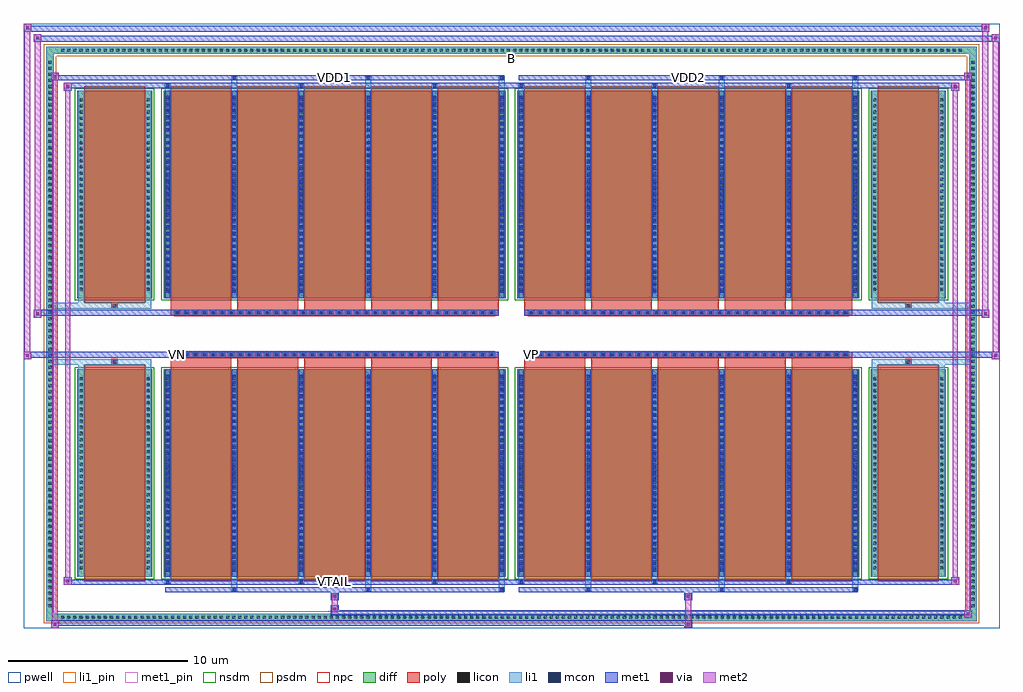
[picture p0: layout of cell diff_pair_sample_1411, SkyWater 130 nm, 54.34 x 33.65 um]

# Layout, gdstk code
import gdstk
lib = gdstk.Library(unit=1e-6, precision=5e-09)
def R(c, l, rs):  # rectangles x0, y0, x1, y1
    for r in rs: c.add(gdstk.rectangle(r[:2], r[2:], *l))
def A(c, l, x, y, w, h, nx, ny, dx, dy):  # array of equal rectangles
    R(c, l, [(x+i*dx, y+j*dy, x+i*dx+w, y+j*dy+h) for i in range(nx) for j in range(ny)])
def P(c, l, *ps):  # polygons
    for p in ps: c.add(gdstk.Polygon(p, *l))
pwell = (64, 44)
diff = (65, 20)
poly = (66, 20)
licon = (66, 44)
li1_pin = (67, 16)
li1 = (67, 20)
mcon = (67, 44)
met1_pin = (68, 16)
met1 = (68, 20)
via = (68, 44)
met2 = (69, 20)
nsdm = (93, 44)
psdm = (94, 20)
npc = (95, 20)

diff_pair_sample_1411 = lib.new_cell('diff_pair_sample_1411')
R(diff_pair_sample_1411, pwell, [(-27.17,-16.39,27.17,17.26), (-24.49,-14.58,-0.01,-0.8), (0.01,-14.58,24.49,-0.8), (-24.49,0.8,-0.01,14.58), (0.01,0.8,24.49,14.58)])
A(diff_pair_sample_1411, diff, -25.195, -15.99, 0.41, 0.41, 148, 2, 0.34, 31.57)
A(diff_pair_sample_1411, diff, -25.9, -15.335, 0.41, 0.41, 1, 90, 0, 0.34)
A(diff_pair_sample_1411, diff, 25.49, -15.335, 0.41, 0.41, 1, 90, 0, 0.34)
R(diff_pair_sample_1411, diff, [(-25.195,-15.99,25.195,-15.58), (-25.9,-15.335,-25.49,15.335), (25.49,-15.335,25.9,15.335), (-24.18,-13.535,-20.01,-1.985), (-19.37,-13.535,-0.32,-1.985), (0.32,-13.535,19.37,-1.985), (20.01,-13.535,24.18,-1.985), (-24.18,1.985,-20.01,13.535), (-19.37,1.985,-0.32,13.535), (0.32,1.985,19.37,13.535), (20.01,1.985,24.18,13.535), (-25.195,15.58,25.195,15.99)])
P(diff_pair_sample_1411, diff, [(25.9,15.99),(-25.9,15.99),(-25.9,-15.58),(-25.49,-15.58),(-25.49,15.58),(25.49,15.58),(25.49,-15.58),(-25.49,-15.58),(-25.9,-15.58),(-25.9,-15.99),(25.9,-15.99)])
A(diff_pair_sample_1411, poly, -18.98, -13.785, 3.39, 12.05, 5, 2, 3.72, 15.52)
A(diff_pair_sample_1411, poly, 0.71, -13.785, 3.39, 12.05, 5, 2, 3.72, 15.52)
A(diff_pair_sample_1411, poly, -18.98, -1.735, 3.39, 0.405, 5, 2, 3.72, 3.065)
A(diff_pair_sample_1411, poly, 0.71, -1.735, 3.39, 0.405, 5, 2, 3.72, 3.065)
A(diff_pair_sample_1411, poly, -18.76, -1.33, 0.33, 0.33, 36, 2, 0.5, 2.33)
A(diff_pair_sample_1411, poly, 0.93, -1.33, 0.33, 0.33, 36, 2, 0.5, 2.33)
R(diff_pair_sample_1411, poly, [(-23.79,-13.785,-20.4,-1.735), (20.4,-13.785,23.79,-1.735), (-22.26,-1.735,-21.93,-1.405), (-22.26,-1.735,-21.93,-1.405), (21.93,-1.735,22.26,-1.405), (21.93,-1.735,22.26,-1.405), (-18.98,-1.33,-0.71,-1), (0.71,-1.33,18.98,-1), (-18.98,1,-0.71,1.33), (0.71,1,18.98,1.33), (-22.26,1.405,-21.93,1.735), (-22.26,1.405,-21.93,1.735), (21.93,1.405,22.26,1.735), (21.93,1.405,22.26,1.735), (-23.79,1.735,-20.4,13.785), (20.4,1.735,23.79,13.785)])
A(diff_pair_sample_1411, licon, -25.075, -15.87, 0.17, 0.17, 148, 2, 0.34, 31.57)
A(diff_pair_sample_1411, licon, -25.78, -15.215, 0.17, 0.17, 1, 90, 0, 0.34)
A(diff_pair_sample_1411, licon, 25.61, -15.215, 0.17, 0.17, 1, 90, 0, 0.34)
A(diff_pair_sample_1411, licon, -24.04, -13.115, 0.17, 0.17, 1, 32, 0, 0.34)
A(diff_pair_sample_1411, licon, -20.32, -13.115, 0.17, 0.17, 1, 32, 0, 0.34)
A(diff_pair_sample_1411, licon, -19.23, -13.115, 0.17, 0.17, 6, 32, 3.72, 0.34)
A(diff_pair_sample_1411, licon, 0.46, -13.115, 0.17, 0.17, 6, 32, 3.72, 0.34)
A(diff_pair_sample_1411, licon, 20.15, -13.115, 0.17, 0.17, 1, 32, 0, 0.34)
A(diff_pair_sample_1411, licon, 23.87, -13.115, 0.17, 0.17, 1, 32, 0, 0.34)
A(diff_pair_sample_1411, licon, -18.68, -1.25, 0.17, 0.17, 36, 2, 0.5, 2.33)
A(diff_pair_sample_1411, licon, 1.01, -1.25, 0.17, 0.17, 36, 2, 0.5, 2.33)
A(diff_pair_sample_1411, licon, -24.04, 2.405, 0.17, 0.17, 1, 32, 0, 0.34)
A(diff_pair_sample_1411, licon, -20.32, 2.405, 0.17, 0.17, 1, 32, 0, 0.34)
A(diff_pair_sample_1411, licon, -19.23, 2.405, 0.17, 0.17, 6, 32, 3.72, 0.34)
A(diff_pair_sample_1411, licon, 0.46, 2.405, 0.17, 0.17, 6, 32, 3.72, 0.34)
A(diff_pair_sample_1411, licon, 20.15, 2.405, 0.17, 0.17, 1, 32, 0, 0.34)
A(diff_pair_sample_1411, licon, 23.87, 2.405, 0.17, 0.17, 1, 32, 0, 0.34)
R(diff_pair_sample_1411, licon, [(-22.18,-1.655,-22.01,-1.485), (22.01,-1.655,22.18,-1.485), (-22.18,1.485,-22.01,1.655), (22.01,1.485,22.18,1.655)])
R(diff_pair_sample_1411, li1_pin, [(-0.25,15.08,0.25,15.58)])
A(diff_pair_sample_1411, li1, -25.155, -15.95, 0.33, 0.33, 148, 2, 0.34, 31.57)
A(diff_pair_sample_1411, li1, -25.86, -15.295, 0.33, 0.33, 1, 90, 0, 0.34)
A(diff_pair_sample_1411, li1, 25.53, -15.295, 0.33, 0.33, 1, 90, 0, 0.34)
A(diff_pair_sample_1411, li1, -15.59, -14.34, 0.33, 0.805, 3, 2, 7.44, 27.875)
A(diff_pair_sample_1411, li1, -15.51, -14.34, 0.17, 0.17, 3, 2, 7.44, 28.51)
A(diff_pair_sample_1411, li1, 4.1, -14.34, 0.33, 0.805, 3, 2, 7.44, 27.875)
A(diff_pair_sample_1411, li1, 4.18, -14.34, 0.17, 0.17, 3, 2, 7.44, 28.51)
A(diff_pair_sample_1411, li1, -19.31, -13.91, 0.33, 0.375, 3, 2, 7.44, 27.445)
A(diff_pair_sample_1411, li1, -19.23, -13.91, 0.17, 0.17, 3, 2, 7.44, 27.65)
A(diff_pair_sample_1411, li1, 0.38, -13.91, 0.33, 0.375, 3, 2, 7.44, 27.445)
A(diff_pair_sample_1411, li1, 0.46, -13.91, 0.17, 0.17, 3, 2, 7.44, 27.65)
A(diff_pair_sample_1411, li1, -19.31, -13.535, 0.33, 11.55, 6, 2, 3.72, 15.52)
A(diff_pair_sample_1411, li1, 0.38, -13.535, 0.33, 11.55, 6, 2, 3.72, 15.52)
A(diff_pair_sample_1411, li1, -19.23, -13.245, 0.17, 0.17, 6, 31, 3.72, 0.36)
A(diff_pair_sample_1411, li1, -19.23, -13.245, 0.17, 10.97, 6, 2, 3.72, 15.52)
A(diff_pair_sample_1411, li1, 0.46, -13.245, 0.17, 0.17, 6, 31, 3.72, 0.36)
A(diff_pair_sample_1411, li1, 0.46, -13.245, 0.17, 10.97, 6, 2, 3.72, 15.52)
A(diff_pair_sample_1411, li1, -24.12, -13.195, 0.33, 0.33, 1, 32, 0, 0.34)
A(diff_pair_sample_1411, li1, -20.4, -13.195, 0.33, 0.33, 1, 32, 0, 0.34)
A(diff_pair_sample_1411, li1, -19.31, -13.195, 0.33, 0.33, 6, 32, 3.72, 0.34)
A(diff_pair_sample_1411, li1, 0.38, -13.195, 0.33, 0.33, 6, 32, 3.72, 0.34)
A(diff_pair_sample_1411, li1, 20.07, -13.195, 0.33, 0.33, 1, 32, 0, 0.34)
A(diff_pair_sample_1411, li1, 23.79, -13.195, 0.33, 0.33, 1, 32, 0, 0.34)
A(diff_pair_sample_1411, li1, -18.76, -1.33, 0.33, 0.33, 36, 2, 0.5, 2.33)
A(diff_pair_sample_1411, li1, 0.93, -1.33, 0.33, 0.33, 36, 2, 0.5, 2.33)
A(diff_pair_sample_1411, li1, -19.23, 2.275, 0.17, 0.17, 6, 31, 3.72, 0.36)
A(diff_pair_sample_1411, li1, 0.46, 2.275, 0.17, 0.17, 6, 31, 3.72, 0.36)
A(diff_pair_sample_1411, li1, -24.12, 2.325, 0.33, 0.33, 1, 32, 0, 0.34)
A(diff_pair_sample_1411, li1, -20.4, 2.325, 0.33, 0.33, 1, 32, 0, 0.34)
A(diff_pair_sample_1411, li1, -19.31, 2.325, 0.33, 0.33, 6, 32, 3.72, 0.34)
A(diff_pair_sample_1411, li1, 0.38, 2.325, 0.33, 0.33, 6, 32, 3.72, 0.34)
A(diff_pair_sample_1411, li1, 20.07, 2.325, 0.33, 0.33, 1, 32, 0, 0.34)
A(diff_pair_sample_1411, li1, 23.79, 2.325, 0.33, 0.33, 1, 32, 0, 0.34)
R(diff_pair_sample_1411, li1, [(-25.9,-15.99,-25.49,-15.58), (-25.9,-15.99,-25.49,-15.58), (-25.49,-15.99,25.49,-15.58), (25.49,-15.99,25.9,-15.58), (25.49,-15.99,25.9,-15.58), (-25.9,-15.58,-25.49,15.58), (25.49,-15.58,25.9,15.58), (-24.12,-13.535,-23.79,-1.985), (-20.4,-13.535,-20.07,-1.985), (20.07,-13.535,20.4,-1.985), (23.79,-13.535,24.12,-1.985), (-24.12,-1.985,-23.79,-1.405), (-20.4,-1.985,-20.07,-1.405), (20.07,-1.985,20.4,-1.405), (23.79,-1.985,24.12,-1.405), (-25.9,-1.735,-22.26,-1.405), (-24.12,-1.735,-22.26,-1.405), (-22.26,-1.735,-21.93,-1.405), (-21.93,-1.735,-20.07,-1.405), (20.07,-1.735,21.93,-1.405), (21.93,-1.735,22.26,-1.405), (21.93,-1.735,25.9,-1.405), (22.26,-1.735,24.12,-1.405), (-25.9,1.405,-22.26,1.735), (-24.12,1.405,-22.26,1.735), (-24.12,1.405,-23.79,1.985), (-22.26,1.405,-21.93,1.735), (-21.93,1.405,-20.07,1.735), (-20.4,1.405,-20.07,1.985), (20.07,1.405,21.93,1.735), (20.07,1.405,20.4,1.985), (21.93,1.405,22.26,1.735), (21.93,1.405,25.9,1.735), (22.26,1.405,24.12,1.735), (23.79,1.405,24.12,1.985), (-24.12,1.985,-23.79,13.535), (-20.4,1.985,-20.07,13.535), (20.07,1.985,20.4,13.535), (23.79,1.985,24.12,13.535), (-25.9,15.58,-25.49,15.99), (-25.9,15.58,-25.49,15.99), (-25.49,15.58,25.49,15.99), (25.49,15.58,25.9,15.99), (25.49,15.58,25.9,15.99)])
A(diff_pair_sample_1411, mcon, -15.51, -14.34, 0.17, 0.17, 3, 2, 7.44, 28.51)
A(diff_pair_sample_1411, mcon, 4.18, -14.34, 0.17, 0.17, 3, 2, 7.44, 28.51)
A(diff_pair_sample_1411, mcon, -19.23, -13.91, 0.17, 0.17, 3, 2, 7.44, 27.65)
A(diff_pair_sample_1411, mcon, 0.46, -13.91, 0.17, 0.17, 3, 2, 7.44, 27.65)
A(diff_pair_sample_1411, mcon, -19.23, -13.245, 0.17, 0.17, 6, 31, 3.72, 0.36)
A(diff_pair_sample_1411, mcon, 0.46, -13.245, 0.17, 0.17, 6, 31, 3.72, 0.36)
A(diff_pair_sample_1411, mcon, -18.68, -1.25, 0.17, 0.17, 36, 2, 0.5, 2.33)
A(diff_pair_sample_1411, mcon, 1.01, -1.25, 0.17, 0.17, 36, 2, 0.5, 2.33)
A(diff_pair_sample_1411, mcon, -19.23, 2.275, 0.17, 0.17, 6, 31, 3.72, 0.36)
A(diff_pair_sample_1411, mcon, 0.46, 2.275, 0.17, 0.17, 6, 31, 3.72, 0.36)
R(diff_pair_sample_1411, met1_pin, [(-9.98,-13.95,-9.71,-13.68), (-18.73,-1.29,-18.46,-1.02), (0.96,-1.29,1.23,-1.02), (-9.98,14.13,-9.71,14.4), (9.71,14.13,9.98,14.4)])
A(diff_pair_sample_1411, met1, -15.57, -14.4, 0.29, 0.29, 3, 2, 7.44, 28.51)
A(diff_pair_sample_1411, met1, 4.12, -14.4, 0.29, 0.29, 3, 2, 7.44, 28.51)
A(diff_pair_sample_1411, met1, -19.29, -13.97, 0.29, 0.29, 3, 2, 7.44, 27.65)
A(diff_pair_sample_1411, met1, 0.4, -13.97, 0.29, 0.29, 3, 2, 7.44, 27.65)
A(diff_pair_sample_1411, met1, -19.29, -13.535, 0.29, 11.55, 6, 2, 3.72, 15.52)
A(diff_pair_sample_1411, met1, 0.4, -13.535, 0.29, 11.55, 6, 2, 3.72, 15.52)
A(diff_pair_sample_1411, met1, -19.29, -13.305, 0.29, 0.29, 6, 31, 3.72, 0.36)
A(diff_pair_sample_1411, met1, 0.4, -13.305, 0.29, 0.29, 6, 31, 3.72, 0.36)
A(diff_pair_sample_1411, met1, -18.74, -1.31, 0.29, 0.29, 36, 2, 0.5, 2.33)
A(diff_pair_sample_1411, met1, 0.95, -1.31, 0.29, 0.29, 36, 2, 0.5, 2.33)
A(diff_pair_sample_1411, met1, -19.29, 2.215, 0.29, 0.29, 6, 31, 3.72, 0.36)
A(diff_pair_sample_1411, met1, 0.4, 2.215, 0.29, 0.29, 6, 31, 3.72, 0.36)
R(diff_pair_sample_1411, met1, [(-25.63,-16.39,-25.2,-15.96), (9.63,-16.39,10.06,-15.96), (-25.63,-16.25,10.06,-15.96), (25.2,-15.82,25.63,-15.39), (-10.06,-15.68,25.63,-15.39), (-10.06,-15.54,-9.63,-15.11), (-10.06,-14.83,-9.63,-14.4), (9.63,-14.83,10.06,-14.4), (-19.29,-14.4,-0.4,-14.11), (0.4,-14.4,19.29,-14.11), (-24.92,-13.97,-24.49,-13.54), (-24.92,-13.97,-19.29,-13.68), (-19.29,-13.97,-0.4,-13.68), (-0.4,-13.97,0.4,-13.68), (0.4,-13.97,19.29,-13.68), (19.29,-13.97,24.92,-13.68), (24.49,-13.97,24.92,-13.54), (-27.17,-1.43,-26.74,-1), (26.74,-1.43,27.17,-1), (-27.17,-1.33,-0.71,-1), (-18.98,-1.33,-0.71,-1), (0.71,-1.33,18.98,-1), (0.71,-1.33,27.17,-1), (-26.6,0.9,-26.17,1.33), (26.17,0.9,26.6,1.33), (-26.6,1,-18.98,1.33), (-18.98,1,-0.71,1.33), (0.71,1,18.98,1.33), (18.98,1,26.6,1.33), (-24.92,13.54,-24.49,13.97), (24.49,13.54,24.92,13.97), (-24.92,13.68,-19.29,13.97), (-19.29,13.68,-0.4,13.97), (-0.4,13.68,0.4,13.97), (0.4,13.68,19.29,13.97), (19.29,13.68,24.92,13.97), (-25.63,14.11,-25.2,14.54), (-25.63,14.11,-19.29,14.4), (-19.29,14.11,-0.4,14.4), (0.4,14.11,19.29,14.4), (19.29,14.11,25.63,14.4), (25.2,14.11,25.63,14.54), (-26.6,16.26,-26.17,16.69), (-26.6,16.26,-24.49,16.59), (-24.49,16.26,24.49,16.59), (24.49,16.26,27.17,16.59), (26.74,16.26,27.17,16.69), (-27.17,16.83,-26.74,17.26), (-27.17,16.83,-24.49,17.16), (-24.49,16.83,24.49,17.16), (24.49,16.83,26.6,17.16), (26.17,16.83,26.6,17.26)])
R(diff_pair_sample_1411, via, [(-25.49,-16.25,-25.34,-16.1), (9.77,-16.25,9.92,-16.1), (25.34,-15.68,25.49,-15.53), (-9.92,-15.4,-9.77,-15.25), (-9.92,-14.69,-9.77,-14.54), (9.77,-14.69,9.92,-14.54), (-24.78,-13.83,-24.63,-13.68), (24.63,-13.83,24.78,-13.68), (-27.03,-1.29,-26.88,-1.14), (26.88,-1.29,27.03,-1.14), (-26.46,1.04,-26.31,1.19), (26.31,1.04,26.46,1.19), (-24.78,13.68,-24.63,13.83), (24.63,13.68,24.78,13.83), (-25.49,14.25,-25.34,14.4), (25.34,14.25,25.49,14.4), (-26.46,16.4,-26.31,16.55), (26.88,16.4,27.03,16.55), (-27.03,16.97,-26.88,17.12), (26.31,16.97,26.46,17.12)])
R(diff_pair_sample_1411, met2, [(-25.63,-16.39,-25.2,-15.96), (-25.56,-16.39,-25.27,14.54), (-25.27,-16.39,-25.2,-15.96), (-25.58,-16.34,-25.25,-16.01), (9.68,-16.34,10.01,-16.01), (9.68,-16.01,10.01,-14.78), (25.2,-15.82,25.63,-15.39), (25.27,-15.82,25.56,14.54), (25.56,-15.82,25.63,-15.39), (25.25,-15.77,25.58,-15.44), (-10.01,-15.49,-9.68,-15.16), (-10.01,-15.16,-9.68,-14.78), (-10.01,-14.78,-9.68,-14.45), (9.68,-14.78,10.01,-14.45), (-24.92,-13.97,-24.49,-13.54), (-24.85,-13.97,-24.56,13.97), (-24.56,-13.97,-24.49,-13.54), (24.49,-13.97,24.92,-13.54), (24.56,-13.97,24.85,13.97), (24.85,-13.97,24.92,-13.54), (-24.87,-13.92,-24.54,-13.59), (24.54,-13.92,24.87,-13.59), (-27.17,-1.43,-26.74,-1), (-27.12,-1.43,-26.79,17.26), (-26.79,-1.43,-26.74,-1), (26.74,-1.43,27.17,-1), (26.79,-1.43,27.12,16.69), (27.12,-1.43,27.17,-1), (-27.12,-1.38,-26.79,-1.05), (26.79,-1.38,27.12,-1.05), (-26.6,0.9,-26.17,1.33), (-26.55,0.9,-26.22,16.69), (-26.22,0.9,-26.17,1.33), (26.17,0.9,26.6,1.33), (26.22,0.9,26.55,17.26), (26.55,0.9,26.6,1.33), (-26.55,0.95,-26.22,1.28), (26.22,0.95,26.55,1.28), (-24.92,13.54,-24.49,13.97), (-24.56,13.54,-24.49,13.97), (24.49,13.54,24.92,13.97), (24.85,13.54,24.92,13.97), (-24.87,13.59,-24.54,13.92), (24.54,13.59,24.87,13.92), (-25.63,14.11,-25.2,14.54), (-25.27,14.11,-25.2,14.54), (25.2,14.11,25.63,14.54), (25.56,14.11,25.63,14.54), (-25.58,14.16,-25.25,14.49), (25.25,14.16,25.58,14.49), (-26.6,16.26,-26.17,16.69), (-26.22,16.26,-26.17,16.69), (26.74,16.26,27.17,16.69), (27.12,16.26,27.17,16.69), (-26.55,16.31,-26.22,16.64), (26.79,16.31,27.12,16.64), (-27.17,16.83,-26.74,17.26), (-26.79,16.83,-26.74,17.26), (26.17,16.83,26.6,17.26), (26.55,16.83,26.6,17.26), (-27.12,16.88,-26.79,17.21), (26.22,16.88,26.55,17.21)])
R(diff_pair_sample_1411, nsdm, [(-24.31,-13.665,-19.88,-1.855), (-19.5,-13.665,-0.19,-1.855), (0.19,-13.665,19.5,-1.855), (19.88,-13.665,24.31,-1.855), (-24.31,1.855,-19.88,13.665), (-19.5,1.855,-0.19,13.665), (0.19,1.855,19.5,13.665), (19.88,1.855,24.31,13.665)])
P(diff_pair_sample_1411, psdm, [(26.03,16.12),(-26.03,16.12),(-26.03,-15.45),(-25.36,-15.45),(-25.36,15.45),(25.36,15.45),(25.36,-15.45),(-25.36,-15.45),(-26.03,-15.45),(-26.03,-16.12),(26.03,-16.12)])
A(diff_pair_sample_1411, npc, -18.78, -1.35, 0.37, 0.37, 36, 2, 0.5, 2.33)
A(diff_pair_sample_1411, npc, 0.91, -1.35, 0.37, 0.37, 36, 2, 0.5, 2.33)
R(diff_pair_sample_1411, npc, [(-22.28,-1.755,-21.91,-1.385), (21.91,-1.755,22.28,-1.385), (-18.78,-1.35,-17.91,-0.98), (-18.78,-1.35,-17.91,-0.98), (-18.28,-1.35,-17.41,-0.98), (-18.28,-1.35,-17.41,-0.98), (-17.78,-1.35,-16.91,-0.98), (-17.78,-1.35,-16.91,-0.98), (-17.28,-1.35,-16.41,-0.98), (-17.28,-1.35,-16.41,-0.98), (-16.78,-1.35,-15.91,-0.98), (-16.78,-1.35,-15.91,-0.98), (-16.28,-1.35,-15.41,-0.98), (-16.28,-1.35,-15.41,-0.98), (-15.78,-1.35,-14.91,-0.98), (-15.78,-1.35,-14.91,-0.98), (-15.28,-1.35,-14.41,-0.98), (-15.28,-1.35,-14.41,-0.98), (-14.78,-1.35,-13.91,-0.98), (-14.78,-1.35,-13.91,-0.98), (-14.28,-1.35,-13.41,-0.98), (-14.28,-1.35,-13.41,-0.98), (-13.78,-1.35,-12.91,-0.98), (-13.78,-1.35,-12.91,-0.98), (-13.28,-1.35,-12.41,-0.98), (-13.28,-1.35,-12.41,-0.98), (-12.78,-1.35,-11.91,-0.98), (-12.78,-1.35,-11.91,-0.98), (-12.28,-1.35,-11.41,-0.98), (-12.28,-1.35,-11.41,-0.98), (-11.78,-1.35,-10.91,-0.98), (-11.78,-1.35,-10.91,-0.98), (-11.28,-1.35,-10.41,-0.98), (-11.28,-1.35,-10.41,-0.98), (-10.78,-1.35,-9.91,-0.98), (-10.78,-1.35,-9.91,-0.98), (-10.28,-1.35,-9.41,-0.98), (-10.28,-1.35,-9.41,-0.98), (-9.78,-1.35,-8.91,-0.98), (-9.78,-1.35,-8.91,-0.98), (-9.28,-1.35,-8.41,-0.98), (-9.28,-1.35,-8.41,-0.98), (-8.78,-1.35,-7.91,-0.98), (-8.78,-1.35,-7.91,-0.98), (-8.28,-1.35,-7.41,-0.98), (-8.28,-1.35,-7.41,-0.98), (-7.78,-1.35,-6.91,-0.98), (-7.78,-1.35,-6.91,-0.98), (-7.28,-1.35,-6.41,-0.98), (-7.28,-1.35,-6.41,-0.98), (-6.78,-1.35,-5.91,-0.98), (-6.78,-1.35,-5.91,-0.98), (-6.28,-1.35,-5.41,-0.98), (-6.28,-1.35,-5.41,-0.98), (-5.78,-1.35,-4.91,-0.98), (-5.78,-1.35,-4.91,-0.98), (-5.28,-1.35,-4.41,-0.98), (-5.28,-1.35,-4.41,-0.98), (-4.78,-1.35,-3.91,-0.98), (-4.78,-1.35,-3.91,-0.98), (-4.28,-1.35,-3.41,-0.98), (-4.28,-1.35,-3.41,-0.98), (-3.78,-1.35,-2.91,-0.98), (-3.78,-1.35,-2.91,-0.98), (-3.28,-1.35,-2.41,-0.98), (-3.28,-1.35,-2.41,-0.98), (-2.78,-1.35,-1.91,-0.98), (-2.78,-1.35,-1.91,-0.98), (-2.28,-1.35,-1.41,-0.98), (-2.28,-1.35,-1.41,-0.98), (-1.78,-1.35,-0.91,-0.98), (-1.78,-1.35,-0.91,-0.98), (0.91,-1.35,1.78,-0.98), (0.91,-1.35,1.78,-0.98), (1.41,-1.35,2.28,-0.98), (1.41,-1.35,2.28,-0.98), (1.91,-1.35,2.78,-0.98), (1.91,-1.35,2.78,-0.98), (2.41,-1.35,3.28,-0.98), (2.41,-1.35,3.28,-0.98), (2.91,-1.35,3.78,-0.98), (2.91,-1.35,3.78,-0.98), (3.41,-1.35,4.28,-0.98), (3.41,-1.35,4.28,-0.98), (3.91,-1.35,4.78,-0.98), (3.91,-1.35,4.78,-0.98), (4.41,-1.35,5.28,-0.98), (4.41,-1.35,5.28,-0.98), (4.91,-1.35,5.78,-0.98), (4.91,-1.35,5.78,-0.98), (5.41,-1.35,6.28,-0.98), (5.41,-1.35,6.28,-0.98), (5.91,-1.35,6.78,-0.98), (5.91,-1.35,6.78,-0.98), (6.41,-1.35,7.28,-0.98), (6.41,-1.35,7.28,-0.98), (6.91,-1.35,7.78,-0.98), (6.91,-1.35,7.78,-0.98), (7.41,-1.35,8.28,-0.98), (7.41,-1.35,8.28,-0.98), (7.91,-1.35,8.78,-0.98), (7.91,-1.35,8.78,-0.98), (8.41,-1.35,9.28,-0.98), (8.41,-1.35,9.28,-0.98), (8.91,-1.35,9.78,-0.98), (8.91,-1.35,9.78,-0.98), (9.41,-1.35,10.28,-0.98), (9.41,-1.35,10.28,-0.98), (9.91,-1.35,10.78,-0.98), (9.91,-1.35,10.78,-0.98), (10.41,-1.35,11.28,-0.98), (10.41,-1.35,11.28,-0.98), (10.91,-1.35,11.78,-0.98), (10.91,-1.35,11.78,-0.98), (11.41,-1.35,12.28,-0.98), (11.41,-1.35,12.28,-0.98), (11.91,-1.35,12.78,-0.98), (11.91,-1.35,12.78,-0.98), (12.41,-1.35,13.28,-0.98), (12.41,-1.35,13.28,-0.98), (12.91,-1.35,13.78,-0.98), (12.91,-1.35,13.78,-0.98), (13.41,-1.35,14.28,-0.98), (13.41,-1.35,14.28,-0.98), (13.91,-1.35,14.78,-0.98), (13.91,-1.35,14.78,-0.98), (14.41,-1.35,15.28,-0.98), (14.41,-1.35,15.28,-0.98), (14.91,-1.35,15.78,-0.98), (14.91,-1.35,15.78,-0.98), (15.41,-1.35,16.28,-0.98), (15.41,-1.35,16.28,-0.98), (15.91,-1.35,16.78,-0.98), (15.91,-1.35,16.78,-0.98), (16.41,-1.35,17.28,-0.98), (16.41,-1.35,17.28,-0.98), (16.91,-1.35,17.78,-0.98), (16.91,-1.35,17.78,-0.98), (17.41,-1.35,18.28,-0.98), (17.41,-1.35,18.28,-0.98), (17.91,-1.35,18.78,-0.98), (17.91,-1.35,18.78,-0.98), (-18.78,0.98,-17.91,1.35), (-18.78,0.98,-17.91,1.35), (-18.28,0.98,-17.41,1.35), (-18.28,0.98,-17.41,1.35), (-17.78,0.98,-16.91,1.35), (-17.78,0.98,-16.91,1.35), (-17.28,0.98,-16.41,1.35), (-17.28,0.98,-16.41,1.35), (-16.78,0.98,-15.91,1.35), (-16.78,0.98,-15.91,1.35), (-16.28,0.98,-15.41,1.35), (-16.28,0.98,-15.41,1.35), (-15.78,0.98,-14.91,1.35), (-15.78,0.98,-14.91,1.35), (-15.28,0.98,-14.41,1.35), (-15.28,0.98,-14.41,1.35), (-14.78,0.98,-13.91,1.35), (-14.78,0.98,-13.91,1.35), (-14.28,0.98,-13.41,1.35), (-14.28,0.98,-13.41,1.35), (-13.78,0.98,-12.91,1.35), (-13.78,0.98,-12.91,1.35), (-13.28,0.98,-12.41,1.35), (-13.28,0.98,-12.41,1.35), (-12.78,0.98,-11.91,1.35), (-12.78,0.98,-11.91,1.35), (-12.28,0.98,-11.41,1.35), (-12.28,0.98,-11.41,1.35), (-11.78,0.98,-10.91,1.35), (-11.78,0.98,-10.91,1.35), (-11.28,0.98,-10.41,1.35), (-11.28,0.98,-10.41,1.35), (-10.78,0.98,-9.91,1.35), (-10.78,0.98,-9.91,1.35), (-10.28,0.98,-9.41,1.35), (-10.28,0.98,-9.41,1.35), (-9.78,0.98,-8.91,1.35), (-9.78,0.98,-8.91,1.35), (-9.28,0.98,-8.41,1.35), (-9.28,0.98,-8.41,1.35), (-8.78,0.98,-7.91,1.35), (-8.78,0.98,-7.91,1.35), (-8.28,0.98,-7.41,1.35), (-8.28,0.98,-7.41,1.35), (-7.78,0.98,-6.91,1.35), (-7.78,0.98,-6.91,1.35), (-7.28,0.98,-6.41,1.35), (-7.28,0.98,-6.41,1.35), (-6.78,0.98,-5.91,1.35), (-6.78,0.98,-5.91,1.35), (-6.28,0.98,-5.41,1.35), (-6.28,0.98,-5.41,1.35), (-5.78,0.98,-4.91,1.35), (-5.78,0.98,-4.91,1.35), (-5.28,0.98,-4.41,1.35), (-5.28,0.98,-4.41,1.35), (-4.78,0.98,-3.91,1.35), (-4.78,0.98,-3.91,1.35), (-4.28,0.98,-3.41,1.35), (-4.28,0.98,-3.41,1.35), (-3.78,0.98,-2.91,1.35), (-3.78,0.98,-2.91,1.35), (-3.28,0.98,-2.41,1.35), (-3.28,0.98,-2.41,1.35), (-2.78,0.98,-1.91,1.35), (-2.78,0.98,-1.91,1.35), (-2.28,0.98,-1.41,1.35), (-2.28,0.98,-1.41,1.35), (-1.78,0.98,-0.91,1.35), (-1.78,0.98,-0.91,1.35), (0.91,0.98,1.78,1.35), (0.91,0.98,1.78,1.35), (1.41,0.98,2.28,1.35), (1.41,0.98,2.28,1.35), (1.91,0.98,2.78,1.35), (1.91,0.98,2.78,1.35), (2.41,0.98,3.28,1.35), (2.41,0.98,3.28,1.35), (2.91,0.98,3.78,1.35), (2.91,0.98,3.78,1.35), (3.41,0.98,4.28,1.35), (3.41,0.98,4.28,1.35), (3.91,0.98,4.78,1.35), (3.91,0.98,4.78,1.35), (4.41,0.98,5.28,1.35), (4.41,0.98,5.28,1.35), (4.91,0.98,5.78,1.35), (4.91,0.98,5.78,1.35), (5.41,0.98,6.28,1.35), (5.41,0.98,6.28,1.35), (5.91,0.98,6.78,1.35), (5.91,0.98,6.78,1.35), (6.41,0.98,7.28,1.35), (6.41,0.98,7.28,1.35), (6.91,0.98,7.78,1.35), (6.91,0.98,7.78,1.35), (7.41,0.98,8.28,1.35), (7.41,0.98,8.28,1.35), (7.91,0.98,8.78,1.35), (7.91,0.98,8.78,1.35), (8.41,0.98,9.28,1.35), (8.41,0.98,9.28,1.35), (8.91,0.98,9.78,1.35), (8.91,0.98,9.78,1.35), (9.41,0.98,10.28,1.35), (9.41,0.98,10.28,1.35), (9.91,0.98,10.78,1.35), (9.91,0.98,10.78,1.35), (10.41,0.98,11.28,1.35), (10.41,0.98,11.28,1.35), (10.91,0.98,11.78,1.35), (10.91,0.98,11.78,1.35), (11.41,0.98,12.28,1.35), (11.41,0.98,12.28,1.35), (11.91,0.98,12.78,1.35), (11.91,0.98,12.78,1.35), (12.41,0.98,13.28,1.35), (12.41,0.98,13.28,1.35), (12.91,0.98,13.78,1.35), (12.91,0.98,13.78,1.35), (13.41,0.98,14.28,1.35), (13.41,0.98,14.28,1.35), (13.91,0.98,14.78,1.35), (13.91,0.98,14.78,1.35), (14.41,0.98,15.28,1.35), (14.41,0.98,15.28,1.35), (14.91,0.98,15.78,1.35), (14.91,0.98,15.78,1.35), (15.41,0.98,16.28,1.35), (15.41,0.98,16.28,1.35), (15.91,0.98,16.78,1.35), (15.91,0.98,16.78,1.35), (16.41,0.98,17.28,1.35), (16.41,0.98,17.28,1.35), (16.91,0.98,17.78,1.35), (16.91,0.98,17.78,1.35), (17.41,0.98,18.28,1.35), (17.41,0.98,18.28,1.35), (17.91,0.98,18.78,1.35), (17.91,0.98,18.78,1.35), (-22.28,1.385,-21.91,1.755), (21.91,1.385,22.28,1.755)])
diff_pair_sample_1411.add(gdstk.Label('VTAIL', (-9.845,-13.815), layer=68, texttype=5))
diff_pair_sample_1411.add(gdstk.Label('VN', (-18.595,-1.155), layer=68, texttype=5))
diff_pair_sample_1411.add(gdstk.Label('VP', (1.095,-1.155), layer=68, texttype=5))
diff_pair_sample_1411.add(gdstk.Label('B', (0,15.33), layer=67, texttype=5))
diff_pair_sample_1411.add(gdstk.Label('VDD2', (9.845,14.265), layer=68, texttype=5))
diff_pair_sample_1411.add(gdstk.Label('VDD1', (-9.845,14.265), layer=68, texttype=5))

lib.write_gds('diff_pair_sample_1411.gds')
